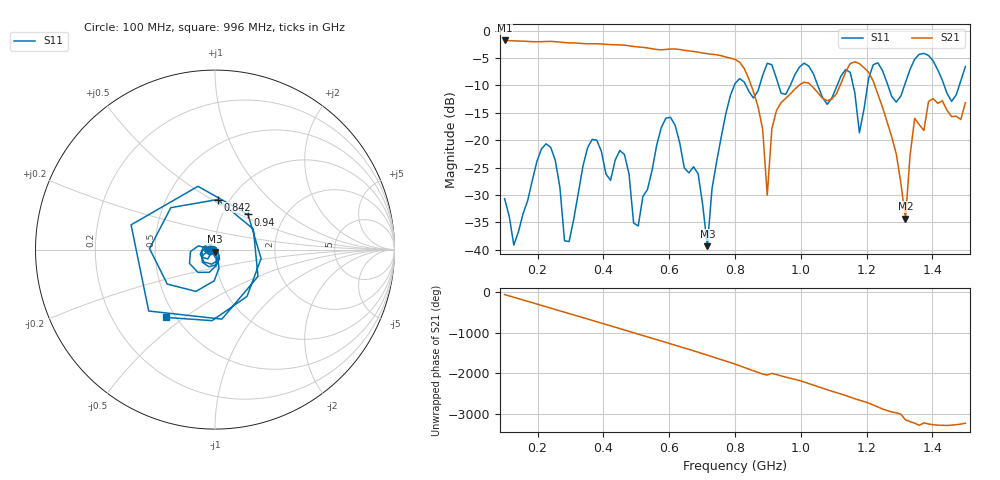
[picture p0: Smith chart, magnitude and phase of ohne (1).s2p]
! NanoVNA-App
! Date: 2025-09-25 17:39:06
! Start: 100MHz Stop: 1,5GHz Points: 101
! S-Parameter data: F S11 S21 S12 S22
# Hz S RI R 50
!  Frequency  S11_Real  S11_Imag  S21_Real  S21_Imag  S12_Real  S12_Imag  S22_Real  S22_Imag
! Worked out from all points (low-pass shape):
!   101 points, 100 MHz to 1.5 GHz, reference 50 ohm
!   highest |S21| = -1.80 dB at 100 MHz (marker M1); lowest = -34.3 dB at 1.318 GHz (marker M2)
!   |S21| within 3 dB of the highest: start of sweep to 770.7 MHz
!   lowest |S11| = -39.4 dB at 716 MHz (marker M3), VSWR 1.02, Z = 49.8 - j1.05 ohm
!   |S11| at or under -10 dB: start of sweep to 797.9 MHz; 833.1 MHz to 874.9 MHz (41.87 MHz wide, 4.9 % of centre); 1.051 GHz to 1.11 GHz (59.03 MHz wide, 5.46 % of centre)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
!   S12 and S22 are empty: the file has one direction only
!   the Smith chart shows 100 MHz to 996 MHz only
!   S11 on the Smith chart (normalised r, x): 100 MHz: 0.94, -0.01; 842 MHz: 0.88, +0.53; 940 MHz: 1.32, +0.56; 996 MHz: 0.44, -0.43
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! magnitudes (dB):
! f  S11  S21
! 100 MHz  -30.7  -1.8
! 128 MHz  -39.2  -1.9
! 226 MHz  -20.7  -2.0
! 296 MHz  -38.5  -2.2
! 338 MHz  -24.8  -2.4
! 464 MHz  -22.6  -2.7
! 506 MHz  -35.7  -3.0
! 576 MHz  -17.7  -3.5
! 688 MHz  -26.1  -3.9
! 716 MHz  -39.4  -4.2
! 800 MHz  -9.7  -5.3
! 842 MHz  -11.1  -8.8
! 898 MHz  -6.0  -30.1
! 940 MHz  -11.4  -13.2
! 996 MHz  -6.6  -9.9
! 1.038 GHz  -7.9  -10.4
! 1.178 GHz  -18.7  -6.0
! 1.22 GHz  -6.2  -9.2
! 1.276 GHz  -12.0  -19.4
! 1.318 GHz  -9.5  -34.3
! 1.346 GHz  -5.2  -16.0
! 1.5 GHz  -6.5  -13.2
